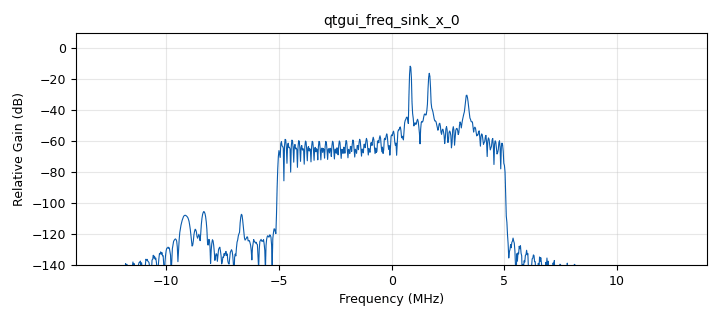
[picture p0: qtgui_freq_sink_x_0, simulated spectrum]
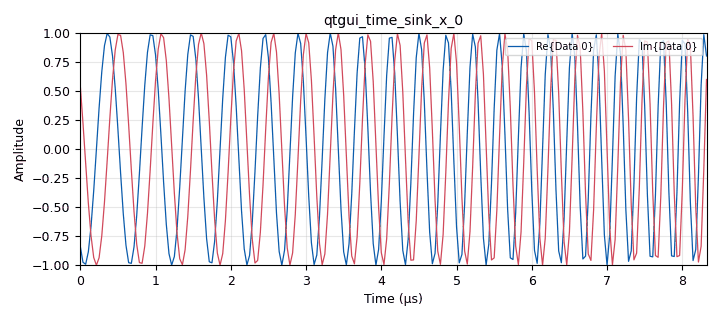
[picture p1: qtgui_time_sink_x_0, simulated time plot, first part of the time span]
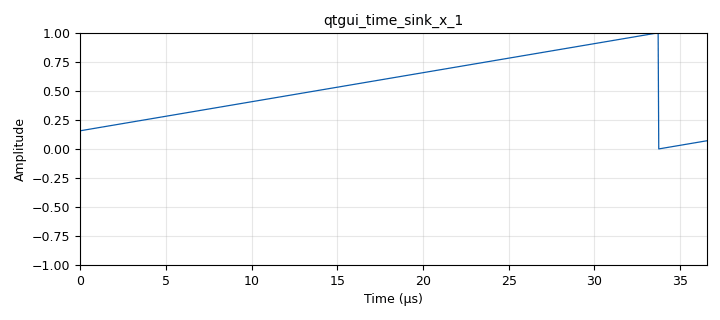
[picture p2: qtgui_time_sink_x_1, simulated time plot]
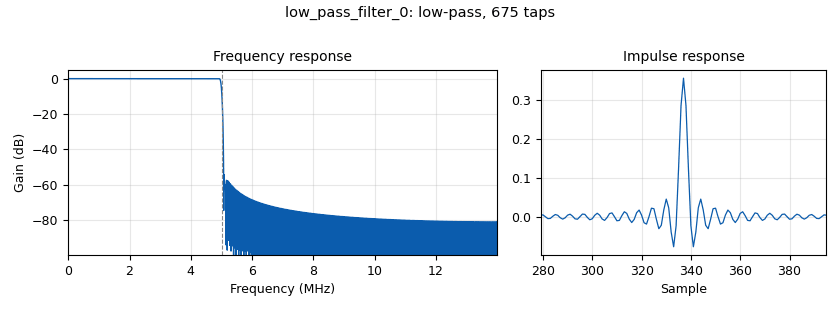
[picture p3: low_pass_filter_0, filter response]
options:
  parameters:
    author: 'Orkun Alp Tepeli '
    description: This GNU Radio Companion project estimates target distances using an FMCW radar simulation. It detects up to 3 targets and calculates ranges via FFT and peak detection in a custom Python block.
    generate_options: qt_gui
    id: fmcw_range_estimator
    output_language: python
    title: FMCW Range Estimator (Multi-Target)
  states: {}

blocks:
- name: fft_size
  id: variable
  parameters:
    value: '1024'
  states: {}
- name: pi_
  id: variable
  parameters:
    value: pi
  states: {}
- name: samp_rate
  id: variable
  parameters:
    value: 28e6
  states: {}
- name: analog_sig_source_x_0
  id: analog_sig_source_x
  parameters:
    amp: '1'
    freq: 25e3
    offset: '0'
    phase: '0'
    samp_rate: samp_rate
    type: float
    waveform: analog.GR_SAW_WAVE
  states: {}
- name: blocks_add_xx_0
  id: blocks_add_xx
  parameters:
    num_inputs: '3'
    type: complex
  states: {}
- name: blocks_complex_to_mag_0
  id: blocks_complex_to_mag
  parameters:
    vlen: fft_size
  states: {}
- name: blocks_delay_0
  id: blocks_delay
  parameters:
    delay: '93'
    type: complex
  states: {}
- name: blocks_delay_1
  id: blocks_delay
  parameters:
    delay: '187'
    type: complex
  states: {}
- name: blocks_delay_2
  id: blocks_delay
  parameters:
    delay: '373'
    type: complex
  states: {}
- name: blocks_multiply_conjugate_cc_0
  id: blocks_multiply_conjugate_cc
  parameters: {}
  states: {}
- name: blocks_multiply_const_vxx_0
  id: blocks_multiply_const_vxx
  parameters:
    const: '0.8'
    type: complex
  states: {}
- name: blocks_multiply_const_vxx_1
  id: blocks_multiply_const_vxx
  parameters:
    const: '0.5'
    type: complex
  states: {}
- name: blocks_multiply_const_vxx_2
  id: blocks_multiply_const_vxx
  parameters:
    const: '0.2'
    type: complex
  states: {}
- name: blocks_stream_to_vector_0
  id: blocks_stream_to_vector
  parameters:
    num_items: fft_size
    type: complex
  states: {}
- name: blocks_throttle2_0
  id: blocks_throttle2
  parameters:
    samples_per_second: samp_rate
    type: complex
  states: {}
- name: blocks_vco_c_0
  id: blocks_vco_c
  parameters:
    amplitude: '1'
    samp_rate: samp_rate
    sensitivity: 2*pi*10e6
  states: {}
- name: blocks_vector_sink_x_0
  id: blocks_vector_sink_x
  parameters:
    type: float
    vlen: '3'
  states: {}
- name: epy_block_0
  id: epy_block
  parameters:
    _source_code: |
      import numpy as np
      from gnuradio import gr
      from scipy.signal import find_peaks

      class blk(gr.sync_block):
          

          def __init__(self, samp_rate=25e6, fft_size=1024, slope=2.5e11):
              gr.sync_block.__init__(
                  self,
                  name=' Multi-Target FMCW Range Estimator',
                  in_sig=[(np.float32, fft_size)],
                  out_sig=[(np.float32, 3)]
              )
              self.samp_rate = samp_rate
              self.fft_size = fft_size
              self.slope = slope
              self.c = 3e8
              self.counter = 0

          def work(self, input_items, output_items): 
              mag = input_items[0][0]
              mag_half = mag[:self.fft_size // 2]   # sadece pozitif frekanslar

              # Tepe bul
              peaks, _ = find_peaks(mag_half, height=np.max(mag_half)*0.2, distance=5)

              if len(peaks) == 0:
                  for i in range(3):
                      output_items[0][i] = 0.0
                  return 1

              # Genliklerine göre sırala
              heights = mag_half[peaks]
              sorted_indices = np.argsort(heights)[-3:]
              top_peaks = peaks[sorted_indices]
              top_peaks = np.sort(top_peaks)

              delta_f = self.samp_rate / self.fft_size
              ranges = []
              for peak_bin in top_peaks:
                  f_beat = peak_bin * delta_f
                  rng = (f_beat * self.c) / (2 * self.slope)
                  ranges.append(rng)

              for i in range(3):
                  output_items[0][i] = ranges[i] if i < len(ranges) else 0.0

              self.counter += 1
              if self.counter % 20 == 0:
                  print("Detected Targets:")
                  for i, r in enumerate(ranges):
                      print(f"  Target {i+1}: {r:.2f} meters")

              return 1
    fft_size: fft_size
    samp_rate: 28e6
    slope: 2.5e11
  states: {}
- name: fft_vxx_0
  id: fft_vxx
  parameters:
    fft_size: '1024'
    forward: 'True'
    shift: 'False'
    type: complex
    window: window.blackmanharris(1024)
  states: {}
- name: import_0
  id: import
  parameters:
    imports: from math import pi
  states: {}
- name: low_pass_filter_0
  id: low_pass_filter
  parameters:
    cutoff_freq: 5e6
    decim: '1'
    gain: '1'
    interp: '1024'
    samp_rate: samp_rate
    type: fir_filter_ccf
    width: 100e3
    win: window.WIN_HAMMING
  states: {}
- name: qtgui_freq_sink_x_0
  id: qtgui_freq_sink_x
  parameters:
    bw: samp_rate
    fc: '0'
    fftsize: '1024'
    type: complex
  states: {}
- name: qtgui_time_sink_x_0
  id: qtgui_time_sink_x
  parameters:
    size: '1024'
    srate: samp_rate
    type: complex
  states: {}
- name: qtgui_time_sink_x_1
  id: qtgui_time_sink_x
  parameters:
    size: '1024'
    srate: samp_rate
    type: float
  states: {}

connections:
- [analog_sig_source_x_0, '0', blocks_vco_c_0, '0']
- [analog_sig_source_x_0, '0', qtgui_time_sink_x_1, '0']
- [blocks_add_xx_0, '0', blocks_multiply_conjugate_cc_0, '1']
- [blocks_complex_to_mag_0, '0', epy_block_0, '0']
- [blocks_delay_0, '0', blocks_multiply_const_vxx_0, '0']
- [blocks_delay_1, '0', blocks_multiply_const_vxx_1, '0']
- [blocks_delay_2, '0', blocks_multiply_const_vxx_2, '0']
- [blocks_multiply_conjugate_cc_0, '0', low_pass_filter_0, '0']
- [blocks_multiply_const_vxx_0, '0', blocks_add_xx_0, '0']
- [blocks_multiply_const_vxx_1, '0', blocks_add_xx_0, '1']
- [blocks_multiply_const_vxx_2, '0', blocks_add_xx_0, '2']
- [blocks_stream_to_vector_0, '0', fft_vxx_0, '0']
- [blocks_throttle2_0, '0', blocks_delay_0, '0']
- [blocks_throttle2_0, '0', blocks_delay_1, '0']
- [blocks_throttle2_0, '0', blocks_delay_2, '0']
- [blocks_throttle2_0, '0', blocks_multiply_conjugate_cc_0, '0']
- [blocks_vco_c_0, '0', blocks_throttle2_0, '0']
- [blocks_vco_c_0, '0', qtgui_time_sink_x_0, '0']
- [epy_block_0, '0', blocks_vector_sink_x_0, '0']
- [fft_vxx_0, '0', blocks_complex_to_mag_0, '0']
- [low_pass_filter_0, '0', blocks_stream_to_vector_0, '0']
- [low_pass_filter_0, '0', qtgui_freq_sink_x_0, '0']

metadata:
  file_format: 1
  grc_version: 3.10.12.0
